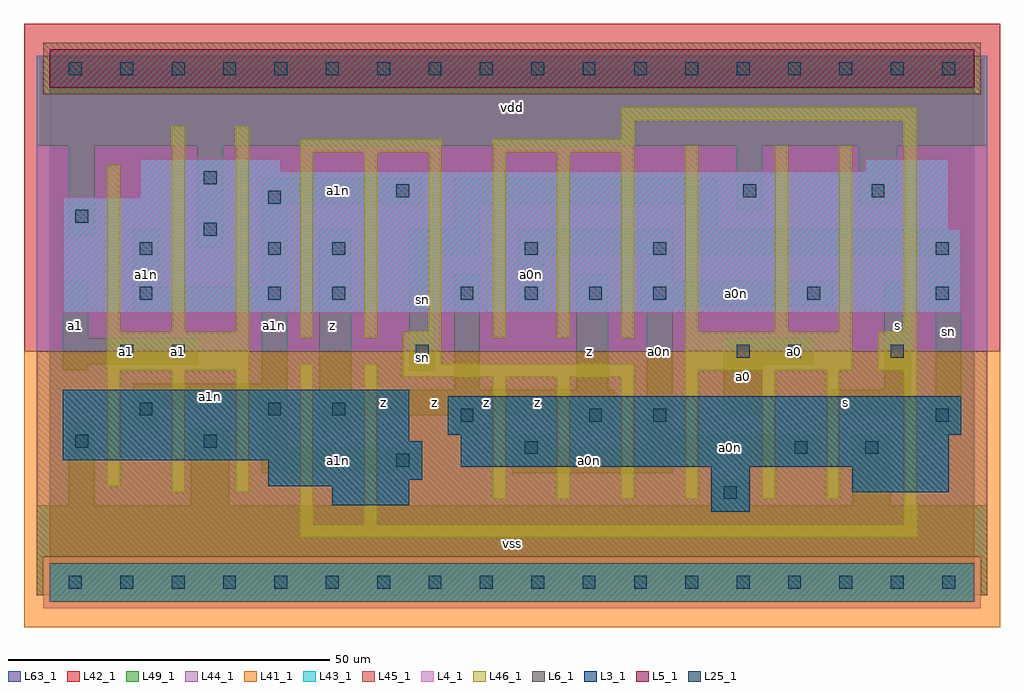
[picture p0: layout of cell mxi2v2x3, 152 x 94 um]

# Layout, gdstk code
import gdstk
lib = gdstk.Library(unit=1e-6, precision=1e-09)
def R(c, l, rs):  # rectangles x0, y0, x1, y1
    for r in rs: c.add(gdstk.rectangle(r[:2], r[2:], *l))
def A(c, l, x, y, w, h, nx, ny, dx, dy):  # array of equal rectangles
    R(c, l, [(x+i*dx, y+j*dy, x+i*dx+w, y+j*dy+h) for i in range(nx) for j in range(ny)])
L3_1 = (3, 1)
L4_1 = (4, 1)
L5_1 = (5, 1)
L6_1 = (6, 1)
L25_1 = (25, 1)
L41_1 = (41, 1)
L42_1 = (42, 1)
L43_1 = (43, 1)
L44_1 = (44, 1)
L45_1 = (45, 1)
L46_1 = (46, 1)
L49_1 = (49, 1)
L63_1 = (63, 1)

mxi2v2x3 = lib.new_cell('mxi2v2x3')
R(mxi2v2x3, L3_1, [(103,11,109,18), (44,12,56,15), (125,14,140,18), (34,15,56,16), (34,16,58,19), (64,18,140,23), (2,19,58,22), (2,22,56,30), (62,23,142,29)])
R(mxi2v2x3, L4_1, [(2,42,142,55), (2,55,140,60), (14,60,140,64), (14,64,36,66), (127,64,140,66)])
R(mxi2v2x3, L5_1, [(0,77,144,83)])
R(mxi2v2x3, L6_1, [(0,-3,144,3), (0,-3,144,3)])
A(mxi2v2x3, L25_1, 3, -1, 2, 2, 18, 2, 8, 80)
A(mxi2v2x3, L25_1, 64, 44, 2, 2, 4, 1, 10, 0)
R(mxi2v2x3, L25_1, [(105,13,107,15), (54,18,56,20), (74,20,76,22), (116,20,118,22), (127,20,129,22), (4,21,6,23), (24,21,26,23), (64,25,66,27), (84,25,86,27), (94,25,96,27), (138,25,140,27), (14,26,16,28), (34,26,36,28), (44,26,46,28), (11,35,13,37), (19,35,21,37), (57,35,59,37), (107,35,109,37), (115,35,117,37), (131,35,133,37), (14,44,16,46), (34,44,36,46), (44,44,46,46), (118,44,120,46), (138,44,140,46), (14,51,16,53), (34,51,36,53), (44,51,46,53), (74,51,76,53), (94,51,96,53), (138,51,140,53), (24,54,26,56), (4,56,6,58), (34,59,36,61), (54,60,56,62), (108,60,110,62), (128,60,130,62), (24,62,26,64)])
R(mxi2v2x3, L41_1, [(-4,-7,148,36)])
R(mxi2v2x3, L42_1, [(-4,36,148,87)])
R(mxi2v2x3, L43_1, [(0,-3,144,3), (103,11,109,18), (44,12,56,15), (125,14,140,18), (34,15,56,16), (34,16,58,19), (64,18,140,23), (2,19,58,22), (2,22,56,30), (62,23,142,29), (2,42,142,55), (2,55,140,60), (14,60,140,64), (14,64,36,66), (127,64,140,66), (0,77,144,83)])
R(mxi2v2x3, L44_1, [(-1,-4,145,4), (-2,36,146,76), (-2,76,-1,82), (145,76,146,82)])
R(mxi2v2x3, L45_1, [(-2,-2,-1,4), (145,-2,146,4), (-2,4,146,36), (-1,76,145,84)])
A(mxi2v2x3, L46_1, 69, 13, 2, 19, 3, 1, 10, 0)
A(mxi2v2x3, L46_1, 69, 38, 2, 29, 3, 1, 10, 0)
R(mxi2v2x3, L46_1, [(39,7,135,9), (39,9,41,34), (49,9,51,34), (133,9,135,33), (99,13,101,33), (111,13,113,33), (121,13,123,33), (19,14,21,33), (29,14,31,33), (9,15,11,33), (55,32,91,34), (9,33,31,39), (99,33,125,39), (129,33,135,39), (55,34,61,39), (39,38,41,67), (49,38,51,67), (9,39,11,65), (19,39,21,71), (29,39,31,71), (59,39,61,67), (99,39,101,68), (113,39,115,68), (123,39,125,68), (133,39,135,72), (39,67,61,69), (69,67,91,69), (89,69,91,72), (89,72,135,74)])
R(mxi2v2x3, L49_1, [(-2,-2,146,12), (3,12,7,25), (22,12,28,24), (103,12,109,16), (125,12,131,23), (33,17,58,21), (72,17,97,19), (72,19,120,21), (33,21,37,27), (72,21,78,23), (93,21,120,23), (63,23,67,26), (93,23,97,43), (137,23,142,29), (13,24,17,27), (42,24,47,26), (82,24,88,26), (42,26,88,30), (105,26,111,34), (121,26,134,30), (13,27,37,31), (138,29,142,42), (42,30,47,55), (63,30,67,48), (82,30,87,48), (130,30,134,47), (33,31,37,42), (2,33,6,34), (56,33,60,51), (2,34,23,38), (105,34,119,38), (2,38,6,47), (13,42,37,46), (73,42,77,51), (137,42,142,51), (92,43,122,47), (13,46,17,55), (33,46,37,59), (92,47,97,51), (56,51,67,55), (73,51,97,55), (100,51,142,55), (23,52,27,68), (3,54,7,68), (63,55,67,59), (100,55,104,59), (107,58,111,68), (33,59,58,63), (63,59,104,63), (126,59,132,68), (-2,68,146,82)])
R(mxi2v2x3, L63_1, [(0,0,144,80)])
mxi2v2x3.add(gdstk.Label('sn', (58,35), layer=49, texttype=1))
mxi2v2x3.add(gdstk.Label('a1', (4,40), layer=49, texttype=1))
mxi2v2x3.add(gdstk.Label('a1', (12,36), layer=49, texttype=1))
mxi2v2x3.add(gdstk.Label('a1', (20,36), layer=49, texttype=1))
mxi2v2x3.add(gdstk.Label('a1n', (15,48), layer=49, texttype=1))
mxi2v2x3.add(gdstk.Label('z', (52,28), layer=49, texttype=1))
mxi2v2x3.add(gdstk.Label('a1n', (25,29), layer=49, texttype=1))
mxi2v2x3.add(gdstk.Label('z', (44,40), layer=49, texttype=1))
mxi2v2x3.add(gdstk.Label('a1n', (35,40), layer=49, texttype=1))
mxi2v2x3.add(gdstk.Label('vss', (72,6), layer=49, texttype=1))
mxi2v2x3.add(gdstk.Label('z', (60,28), layer=49, texttype=1))
mxi2v2x3.add(gdstk.Label('a1n', (45,19), layer=49, texttype=1))
mxi2v2x3.add(gdstk.Label('z', (76,28), layer=49, texttype=1))
mxi2v2x3.add(gdstk.Label('z', (68,28), layer=49, texttype=1))
mxi2v2x3.add(gdstk.Label('z', (84,36), layer=49, texttype=1))
mxi2v2x3.add(gdstk.Label('a0n', (75,48), layer=49, texttype=1))
mxi2v2x3.add(gdstk.Label('sn', (58,44), layer=49, texttype=1))
mxi2v2x3.add(gdstk.Label('a1n', (45,61), layer=49, texttype=1))
mxi2v2x3.add(gdstk.Label('vdd', (72,74), layer=49, texttype=1))
mxi2v2x3.add(gdstk.Label('a0n', (84,19), layer=49, texttype=1))
mxi2v2x3.add(gdstk.Label('a0', (108,32), layer=49, texttype=1))
mxi2v2x3.add(gdstk.Label('a0n', (95,36), layer=49, texttype=1))
mxi2v2x3.add(gdstk.Label('a0n', (106,21), layer=49, texttype=1))
mxi2v2x3.add(gdstk.Label('s', (124,28), layer=49, texttype=1))
mxi2v2x3.add(gdstk.Label('a0', (116,36), layer=49, texttype=1))
mxi2v2x3.add(gdstk.Label('a0n', (107,45), layer=49, texttype=1))
mxi2v2x3.add(gdstk.Label('s', (132,40), layer=49, texttype=1))
mxi2v2x3.add(gdstk.Label('sn', (140,39), layer=49, texttype=1))

lib.write_gds('mxi2v2x3.gds')
